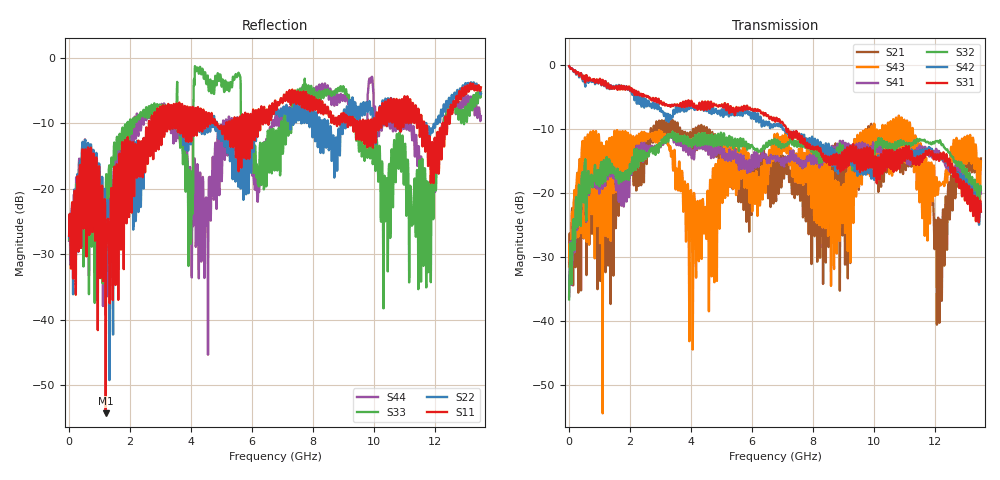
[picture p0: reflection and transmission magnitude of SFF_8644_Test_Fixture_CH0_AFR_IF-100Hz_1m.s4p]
!Keysight Technologies,N5231B,MY57181281,A.17.25.05
!Date: Friday, March 07, 2025 16:14:51
!Correction: S11(C  4-Port  )
!S12(C  4-Port  )
!S13(C  4-Port  )
!S14(C  4-Port  )
!S21(C  4-Port  )
!S22(C  4-Port  )
!S23(C  4-Port  )
!S24(C  4-Port  )
!S31(C  4-Port  )
!S32(C  4-Port  )
!S33(C  4-Port  )
!S34(C  4-Port  )
!S41(C  4-Port  )
!S42(C  4-Port  )
!S43(C  4-Port  )
!S44(C  4-Port  )
!S4P File: Measurements: <S11,S12,S13,S14>,
!<S21,S22,S23,S24>,
!<S31,S32,S33,S34>,
!<S41,S42,S43,S44>:
# Hz S  dB  R 50
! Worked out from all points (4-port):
!   1350 points, 10 MHz to 13.5 GHz, reference 50 ohm
!   strongest paths, dB at 10 MHz, 3.38 GHz, 6.76 GHz, 10.13 GHz, 13.5 GHz:
!     S31: -0.2, -6.2, -8.9, -14.6, -23.0
!     S42: -0.2, -8.1, -9.5, -14.4, -22.9
!     S32: -36.7, -11.0, -11.9, -12.1, -19.6
!     S41: -36.2, -11.1, -14.6, -13.3, -20.1
!     S43: -31.5, -13.8, -11.6, -14.2, -15.1
!     S21: -30.8, -8.9, -15.6, -17.5, -14.6
!   lowest |S11| = -54.3 dB at 1.21 GHz (marker M1), VSWR 1.00, Z = 49.9 + j0.163 ohm
!   |S11| at or under -10 dB: start of sweep to 2.623 GHz; 4.859 GHz to 5.16 GHz (300.8 MHz wide, 6 % of centre); 11.64 GHz to 12.25 GHz (606.5 MHz wide, 5.08 % of centre)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
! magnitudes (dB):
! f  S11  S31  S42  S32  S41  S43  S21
! 10 MHz  -27.2  -0.2  -0.2  -36.7  -36.2  -31.5  -30.8
! 1.21 GHz  -54.3  -2.7  -2.8  -15.8  -15.9  -17.2  -27.2
! 3.97 GHz  -7.6  -6.4  -6.5  -11.7  -13.0  -24.1  -11.0
! 4.19 GHz  -11.9  -6.4  -6.9  -12.0  -12.9  -24.3  -12.3
! 9.89 GHz  -11.4  -14.7  -16.4  -14.1  -13.0  -12.4  -9.9
! 11.82 GHz  -12.2  -13.4  -13.0  -12.2  -14.3  -21.2  -18.0
! 13.5 GHz  -4.6  -23.0  -22.9  -19.6  -20.1  -15.1  -14.6
